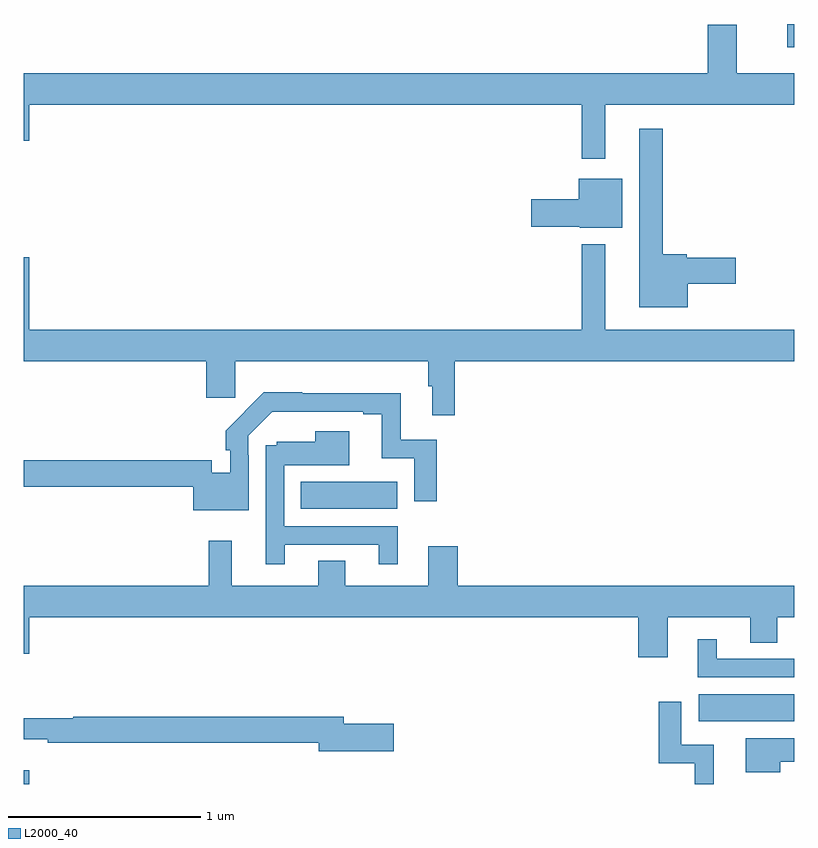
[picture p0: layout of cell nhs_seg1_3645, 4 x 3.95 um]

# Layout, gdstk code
import gdstk
lib = gdstk.Library(unit=1e-6, precision=1e-09)
def R(c, l, rs):  # rectangles x0, y0, x1, y1
    for r in rs: c.add(gdstk.rectangle(r[:2], r[2:], *l))
def P(c, l, *ps):  # polygons
    for p in ps: c.add(gdstk.Polygon(p, *l))
L2000_40 = (2000, 40)

nhs_seg1_3645 = lib.new_cell('nhs_seg1_3645')
R(nhs_seg1_3645, L2000_40, [(309,552.199,309.028,552.271), (312.504,552.524,313,552.664), (310.438,553.628,310.939,553.768), (312.966,556.025,313,556.147)])
P(nhs_seg1_3645, L2000_40, [(312.019,555.728),(313,555.728),(313,555.892),(312.703,555.892),(312.703,556.144),(312.551,556.144),(312.551,555.892),(309,555.892),(309,555.54),(309.028,555.54),(309.028,555.728),(311.898,555.728),(311.898,555.447),(312.019,555.447)],
  [(312.448,554.798),(312.697,554.798),(312.697,554.933),(312.444,554.933),(312.444,554.951),(312.319,554.951),(312.319,555.604),(312.197,555.604),(312.197,554.675),(312.448,554.675)],
  [(312.109,555.343),(311.882,555.343),(311.882,555.237),(311.634,555.237),(311.634,555.095),(311.886,555.095),(311.886,555.089),(312.109,555.089)],
  [(311.237,554.396),(313,554.396),(313,554.56),(312.019,554.56),(312.019,555.004),(311.898,555.004),(311.898,554.56),(309.028,554.56),(309.028,554.935),(309,554.935),(309,554.396),(309.947,554.396),(309.947,554.205),(310.097,554.205),(310.097,554.396),(311.101,554.396),(311.101,554.264),(311.12,554.264),(311.12,554.115),(311.237,554.115)],
  [(310.167,553.907),(310.164,553.907),(310.164,554.007),(310.29,554.133),(310.763,554.133),(310.763,554.121),(310.859,554.121),(310.859,553.89),(311.028,553.89),(311.028,553.668),(311.144,553.668),(311.144,553.986),(310.957,553.986),(310.957,554.23),(310.445,554.23),(310.445,554.233),(310.246,554.233),(310.049,554.035),(310.049,553.934),(310.071,553.934),(310.071,553.816),(309.975,553.816),(309.975,553.88),(309,553.88),(309,553.744),(309.879,553.744),(309.879,553.622),(310.167,553.622)],
  [(310.354,553.443),(310.844,553.443),(310.844,553.341),(310.942,553.341),(310.942,553.539),(310.353,553.539),(310.353,553.856),(310.69,553.856),(310.69,554.032),(310.514,554.032),(310.514,553.978),(310.314,553.978),(310.314,553.959),(310.257,553.959),(310.257,553.341),(310.354,553.341)],
  [(311.252,553.435),(311.099,553.435),(311.099,553.228),(310.669,553.228),(310.669,553.358),(310.529,553.358),(310.529,553.228),(310.079,553.228),(310.079,553.462),(309.961,553.462),(309.961,553.228),(309,553.228),(309,552.876),(309.028,552.876),(309.028,553.064),(312.191,553.064),(312.191,552.858),(312.343,552.858),(312.343,553.064),(312.773,553.064),(312.773,552.934),(312.913,552.934),(312.913,553.064),(313,553.064),(313,553.228),(311.252,553.228)],
  [(313,552.849),(312.598,552.849),(312.598,552.952),(312.5,552.952),(312.5,552.753),(313,552.753)],
  [(312.583,552.402),(312.414,552.402),(312.414,552.625),(312.298,552.625),(312.298,552.306),(312.485,552.306),(312.485,552.199),(312.583,552.199)],
  [(310.921,552.512),(310.66,552.512),(310.66,552.548),(309.256,552.548),(309.256,552.541),(309,552.541),(309,552.431),(309.124,552.431),(309.124,552.412),(310.532,552.412),(310.532,552.37),(310.921,552.37)],
  [(312.928,552.314),(313,552.314),(313,552.436),(312.749,552.436),(312.749,552.26),(312.928,552.26)])

lib.write_gds('nhs_seg1_3645.gds')
